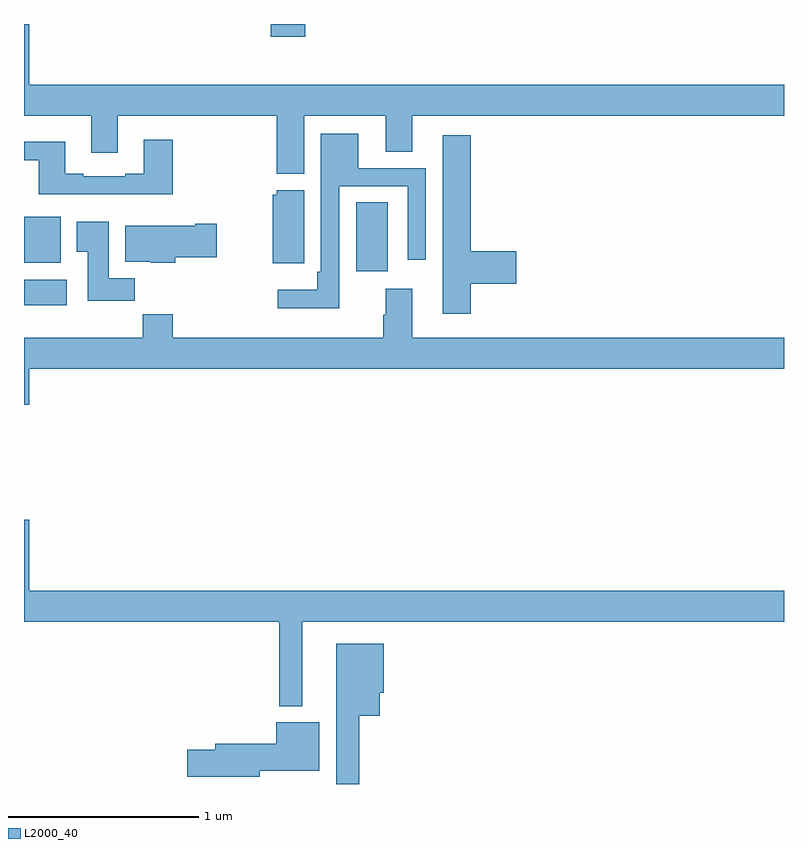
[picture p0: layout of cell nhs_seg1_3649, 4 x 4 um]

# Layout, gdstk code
import gdstk
lib = gdstk.Library(unit=1e-6, precision=1e-09)
def R(c, l, rs):  # rectangles x0, y0, x1, y1
    for r in rs: c.add(gdstk.rectangle(r[:2], r[2:], *l))
def P(c, l, *ps):  # polygons
    for p in ps: c.add(gdstk.Polygon(p, *l))
L2000_40 = (2000, 40)

nhs_seg1_3649 = lib.new_cell('nhs_seg1_3649')
R(nhs_seg1_3649, L2000_40, [(309,566.72,309.226,566.854), (310.748,566.898,310.915,567.26), (309,566.942,309.193,567.184), (310.298,568.131,310.481,568.199)])
P(nhs_seg1_3649, L2000_40, [(310.474,567.716),(310.904,567.716),(310.904,567.526),(311.044,567.526),(311.044,567.716),(313,567.716),(313,567.88),(309.028,567.88),(309.028,568.199),(309,568.199),(309,567.716),(309.353,567.716),(309.353,567.522),(309.493,567.522),(309.493,567.716),(310.331,567.716),(310.331,567.41),(310.474,567.41)],
  [(310.659,567.345),(311.019,567.345),(311.019,566.958),(311.115,566.958),(311.115,567.441),(310.759,567.441),(310.759,567.622),(310.563,567.622),(310.563,566.896),(310.543,566.896),(310.543,566.8),(310.335,566.8),(310.335,566.702),(310.659,566.702)],
  [(311.351,566.831),(311.59,566.831),(311.59,567.002),(311.351,567.002),(311.351,567.613),(311.204,567.613),(311.204,566.673),(311.351,566.673)],
  [(309.782,567.589),(309.629,567.589),(309.629,567.412),(309.533,567.412),(309.533,567.399),(309.313,567.399),(309.313,567.412),(309.217,567.412),(309.217,567.58),(309,567.58),(309,567.483),(309.077,567.483),(309.077,567.302),(309.782,567.302)],
  [(310.474,567.325),(310.329,567.325),(310.329,567.3),(310.31,567.3),(310.31,566.939),(310.474,566.939)],
  [(309.584,566.86),(309.445,566.86),(309.445,567.157),(309.278,567.157),(309.278,567.001),(309.335,567.001),(309.335,566.742),(309.584,566.742)],
  [(309.797,566.971),(310.015,566.971),(310.015,567.149),(309.902,567.149),(309.902,567.136),(309.533,567.136),(309.533,566.948),(309.666,566.948),(309.666,566.942),(309.797,566.942)],
  [(309.028,566.384),(313,566.384),(313,566.548),(311.044,566.548),(311.044,566.806),(310.904,566.806),(310.904,566.669),(310.892,566.669),(310.892,566.548),(309.782,566.548),(309.782,566.672),(309.625,566.672),(309.625,566.548),(309,566.548),(309,566.196),(309.028,566.196)],
  [(310.465,565.052),(313,565.052),(313,565.216),(309.028,565.216),(309.028,565.591),(309,565.591),(309,565.052),(310.344,565.052),(310.344,564.608),(310.465,564.608)],
  [(310.765,564.557),(310.873,564.557),(310.873,564.678),(310.894,564.678),(310.894,564.937),(310.643,564.937),(310.643,564.199),(310.765,564.199)],
  [(310.242,564.269),(310.555,564.269),(310.555,564.523),(310.328,564.523),(310.328,564.41),(310.007,564.41),(310.007,564.38),(309.858,564.38),(309.858,564.238),(310.242,564.238)])

lib.write_gds('nhs_seg1_3649.gds')
